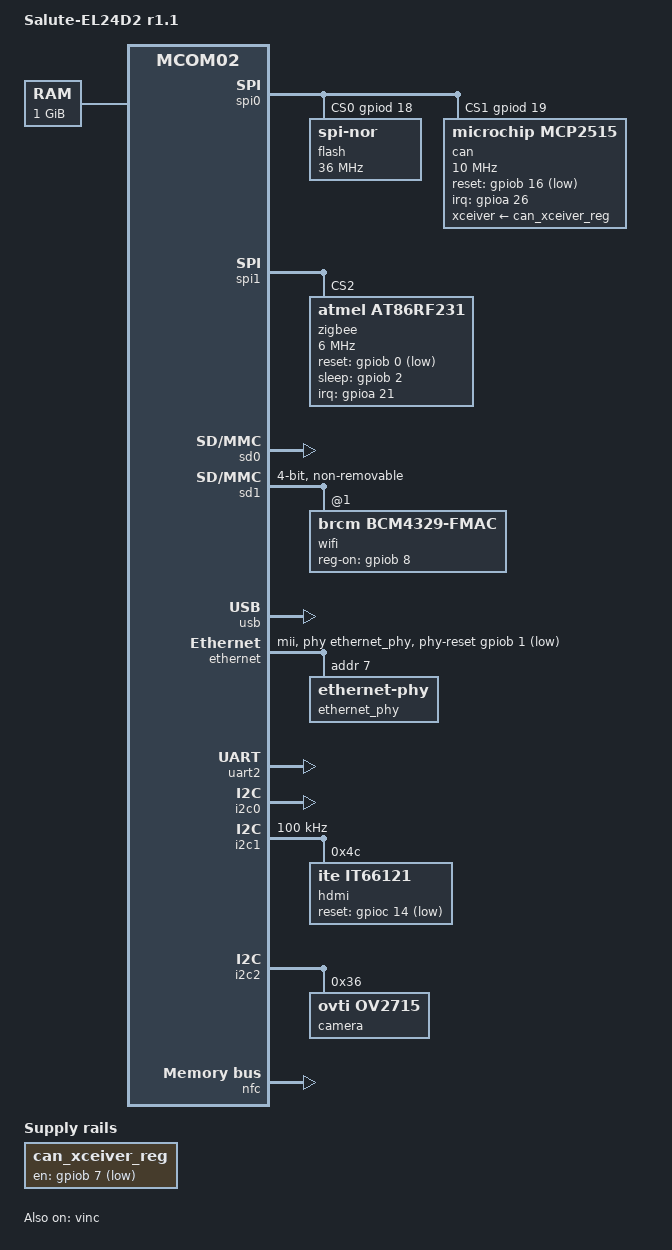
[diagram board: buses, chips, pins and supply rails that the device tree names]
/*
 * Copyright 2015-2016 ELVEES NeoTek JSC
 *
 * This program is free software; you can redistribute it and/or modify
 * it under the terms of the GNU General Public License version 2 as
 * published by the Free Software Foundation.
 */

/dts-v1/;

#include <dt-bindings/interrupt-controller/irq.h>
#include <dt-bindings/gpio/gpio.h>

#include "mcom02.dtsi"

/ {
	model = "Salute-EL24D2 r1.1";
	compatible = "elvees,salute-el24d2-r1.1",
		     "elvees,salute-el24d2",
		     "elvees,mcom02";

	chosen {
		bootargs = "console=ttyS0,115200";
	};

	aliases {
		spi0 = &spi0;
		spi1 = &spi1;
	};

	memory {
		device_type = "memory";
		reg = <0x40000000 0x40000000>;
	};

	clocks {
		can_clk: can_clk {
			#clock-cells = <0>;
			compatible = "fixed-clock";
			clock-frequency = <16000000>;
		};
	};

	regulators {
		#address-cells = <1>;
		#size-cells = <0>;
		compatible = "simple-bus";

		can_xceiver_reg: regulator@0 {
			compatible = "regulator-fixed";
			reg = <0x0>;
			regulator-name = "can-xceiver";
			gpio = <&gpiob 7 0>;
		};
	};
};

&cpllclk {
	clock-mult = <21>;
};

&spi0 {
	status = "okay";
	num-cs = <2>;
	/* Third argument of "cs-gpios" property is set to 0,
	 * because it is ignored by the SPI driver. */
	cs-gpios = <&gpiod 18 0>, <&gpiod 19 0>;

	flash: flash@0 {
		#address-cells = <1>;
		#size-cells = <1>;
		compatible = "jedec,spi-nor", "spi-flash";
		reg = <0>;
		/* The data transfer is not stable at a higher frequency. */
		spi-max-frequency = <36000000>;
		m25p,fast-read;
		u-boot,dm-pre-reloc;
	};

	can: can@1 {
		compatible = "microchip,mcp2515";
		reg = <1>;
		clocks = <&can_clk>;
		interrupt-parent = <&gpioa>;
		interrupts = <26 IRQ_TYPE_LEVEL_LOW>;
		reset-gpios = <&gpiob 16 GPIO_ACTIVE_LOW>;
		spi-max-frequency = <10000000>;
		xceiver-supply = <&can_xceiver_reg>;
	};
};

&spi1 {
	/* Synopsys SPI has hardware Chip Select support.
	 * SPI1_nSS0 and SPI1_nSS1 are wired to X4, SPI1_nSS2
	 * is wired to Zigbee. */

	status = "okay";

	zigbee: zigbee@2 {
		compatible = "atmel,at86rf231";
		/* max-frequency for at86rf231 is 7500000, but we
		 * set it to 6000000 because controller works more stable.
		 */
		spi-max-frequency = <6000000>;
		reg = <2>;
		interrupts = <21 IRQ_TYPE_LEVEL_HIGH>;
		interrupt-parent = <&gpioa>;
		reset-gpio = <&gpiob 0 GPIO_ACTIVE_LOW>;
		sleep-gpio = <&gpiob 2 GPIO_ACTIVE_HIGH>;
	};
};

&sd0 {
	status = "okay";
};

&sd1 {
	#address-cells = <1>;
	#size-cells = <0>;
	non-removable;
	broken-cd;
	bus-width = <4>;
	max-frequency = <50000000>;
	keep-power-in-suspend;
	status = "okay";

	wifi: wifi {
		reg = <1>;
		compatible = "brcm,bcm4329-fmac";
		reg-on-gpio = <&gpiob 8 GPIO_ACTIVE_HIGH>;
	};
};

&usb {
	status = "okay";
};

&vinc {
	status = "okay";
	elvees,pixel-clock-divider = <16>;
	elvees,pixel-clock-over-fsync;
	ports {
		port@0 {
			#address-cells = <1>;
			#size-cells = <0>;
			vinc_endpoint0: endpoint@0 {
				reg = <0>;
				remote-endpoint = <&ov2715endpoint>;
				elvees,ifacenum = /bits/ 8 <2>;
			};
		};
	};
};

&ethernet {
	#address-cells = <1>;
	#size-cells = <0>;
	status = "okay";
	phy-mode = "mii";
	phy-handle = <&ethernet_phy>;
	phy-reset-gpios = <&gpiob 1 GPIO_ACTIVE_LOW>;

	ethernet_phy: ethernet-phy@7 {
		reg = <7>;
	};
};

/*
 * RS-485 is used as physical layer for UART2
 */

&uart2 {
	status = "okay";
};

&i2c0 {
	/* Connected to voltage regulator */
	status = "okay";
};

&i2c1 {
	/* Connected to HDMI transmitter */
	status = "okay";
	clock-frequency = <100000>;
	hdmi: it66121@4c {
		compatible = "ite,it66121";
		reg = <0x4c>;
		reset-gpios = <&gpioc 14 GPIO_ACTIVE_LOW>;
	};
};

&i2c2 {
	/* Wired out to sensors */
	status = "okay";
	camera@36 {
		compatible = "ovti,ov2715";
		reg = <0x36>;
		port {
			ov2715endpoint: endpoint {
				remote = <&vinc_endpoint0>;
			};
		};
	};
};

&framebuffer {
	status = "okay";
	output = <&hdmi>;
};

&nfc {
	status = "okay";
};
